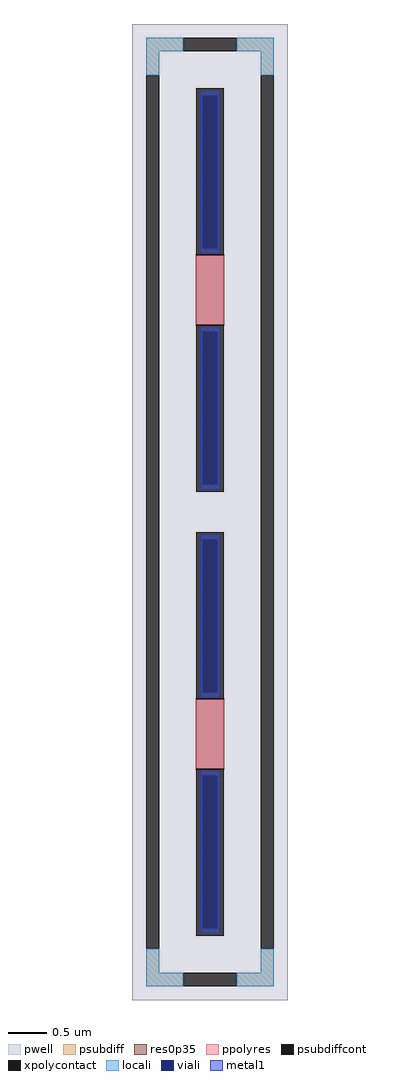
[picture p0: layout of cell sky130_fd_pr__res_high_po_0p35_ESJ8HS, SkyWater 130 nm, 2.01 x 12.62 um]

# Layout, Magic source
magic
tech sky130B
magscale 1 2
<< pwell >>
rect -201 -1262 201 1262
<< psubdiff >>
rect -165 1192 -69 1226
rect 69 1192 165 1226
rect -165 1130 -131 1192
rect 131 1130 165 1192
rect -165 -1192 -131 -1130
rect 131 -1192 165 -1130
rect -165 -1226 -69 -1192
rect 69 -1226 165 -1192
<< psubdiffcont >>
rect -69 1192 69 1226
rect -165 -1130 -131 1130
rect 131 -1130 165 1130
rect -69 -1226 69 -1192
<< xpolycontact >>
rect -35 664 35 1096
rect -35 52 35 484
rect -35 -484 35 -52
rect -35 -1096 35 -664
<< ppolyres >>
rect -35 484 35 664
rect -35 -664 35 -484
<< locali >>
rect -165 1192 -69 1226
rect 69 1192 165 1226
rect -165 1130 -131 1192
rect 131 1130 165 1192
rect -165 -1192 -131 -1130
rect 131 -1192 165 -1130
rect -165 -1226 -69 -1192
rect 69 -1226 165 -1192
<< viali >>
rect -19 681 19 1078
rect -19 70 19 467
rect -19 -467 19 -70
rect -19 -1078 19 -681
<< metal1 >>
rect -25 1078 25 1090
rect -25 681 -19 1078
rect 19 681 25 1078
rect -25 669 25 681
rect -25 467 25 479
rect -25 70 -19 467
rect 19 70 25 467
rect -25 58 25 70
rect -25 -70 25 -58
rect -25 -467 -19 -70
rect 19 -467 25 -70
rect -25 -479 25 -467
rect -25 -681 25 -669
rect -25 -1078 -19 -681
rect 19 -1078 25 -681
rect -25 -1090 25 -1078
<< res0p35 >>
rect -37 482 37 666
rect -37 -666 37 -482
<< properties >>
string FIXED_BBOX -148 -1209 148 1209
string gencell sky130_fd_pr__res_high_po_0p35
string library sky130
string parameters w 0.350 l 0.9 m 2 nx 1 wmin 0.350 lmin 0.50 rho 319.8 val 1.935k dummy 0 dw 0.0 term 194.82 sterm 0.0 caplen 0 guard 1 glc 1 grc 1 gtc 1 gbc 1 compatible {sky130_fd_pr__res_high_po_0p35  sky130_fd_pr__res_high_po_0p69 sky130_fd_pr__res_high_po_1p41  sky130_fd_pr__res_high_po_2p85 sky130_fd_pr__res_high_po_5p73} full_metal 1 wmax 0.350 vias 1 n_guard 0 hv_guard 0 viagb 0 viagt 0 viagl 0 viagr 0
<< end >>
